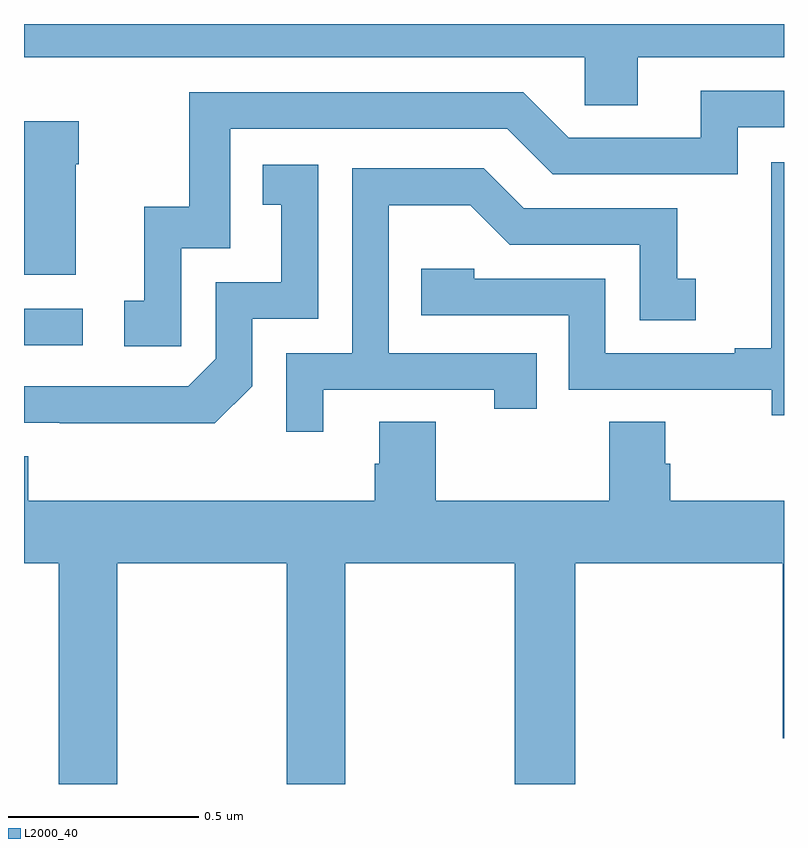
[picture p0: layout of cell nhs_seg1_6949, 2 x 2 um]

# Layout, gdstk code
import gdstk
lib = gdstk.Library(unit=1e-6, precision=1e-09)
def R(c, l, rs):  # rectangles x0, y0, x1, y1
    for r in rs: c.add(gdstk.rectangle(r[:2], r[2:], *l))
def P(c, l, *ps):  # polygons
    for p in ps: c.add(gdstk.Polygon(p, *l))
L2000_40 = (2000, 40)

nhs_seg1_6949 = lib.new_cell('nhs_seg1_6949')
R(nhs_seg1_6949, L2000_40, [(198,504.354,198.154,504.45)])
P(nhs_seg1_6949, L2000_40, [(198,505.112),(199.476,505.112),(199.476,504.985),(199.615,504.985),(199.615,505.112),(200,505.112),(200,505.199),(198,505.199)],
  [(198.414,504.609),(198.543,504.609),(198.543,504.924),(199.272,504.924),(199.392,504.804),(199.878,504.804),(199.878,504.927),(200,504.927),(200,505.023),(199.781,505.023),(199.781,504.9),(199.434,504.9),(199.314,505.02),(198.435,505.02),(198.435,504.718),(198.317,504.718),(198.317,504.471),(198.264,504.471),(198.264,504.351),(198.414,504.351)],
  [(198.136,504.83),(198.144,504.83),(198.144,504.943),(198,504.943),(198,504.539),(198.136,504.539)],
  [(200,504.835),(199.966,504.835),(199.966,504.629),(199.967,504.629),(199.967,504.346),(199.871,504.346),(199.871,504.333),(199.53,504.333),(199.53,504.528),(199.185,504.528),(199.185,504.555),(199.045,504.555),(199.045,504.432),(199.434,504.432),(199.434,504.237),(199.968,504.237),(199.968,504.169),(200,504.169)],
  [(198.6,504.246),(198.6,504.423),(198.774,504.423),(198.774,504.829),(198.628,504.829),(198.628,504.723),(198.677,504.723),(198.677,504.519),(198.504,504.519),(198.504,504.318),(198.432,504.246),(198,504.246),(198,504.15),(198.094,504.15),(198.094,504.149),(198.502,504.149)],
  [(198.787,504.237),(199.238,504.237),(199.238,504.186),(199.349,504.186),(199.349,504.333),(198.96,504.333),(198.96,504.722),(199.174,504.722),(199.278,504.618),(199.62,504.618),(199.62,504.42),(199.768,504.42),(199.768,504.529),(199.719,504.529),(199.719,504.714),(199.315,504.714),(199.21,504.819),(198.864,504.819),(198.864,504.333),(198.69,504.333),(198.69,504.126),(198.787,504.126)],
  [(198.246,503.78),(198.691,503.78),(198.691,503.199),(198.846,503.199),(198.846,503.78),(199.291,503.78),(199.291,503.199),(199.451,503.199),(199.451,503.78),(199.997,503.78),(199.997,503.319),(200,503.319),(200,503.944),(199.7,503.944),(199.7,504.042),(199.687,504.042),(199.687,504.152),(199.54,504.152),(199.54,503.944),(199.083,503.944),(199.083,504.152),(198.935,504.152),(198.935,504.042),(198.923,504.042),(198.923,503.944),(198.011,503.944),(198.011,504.061),(198,504.061),(198,503.78),(198.091,503.78),(198.091,503.199),(198.246,503.199)])

lib.write_gds('nhs_seg1_6949.gds')
